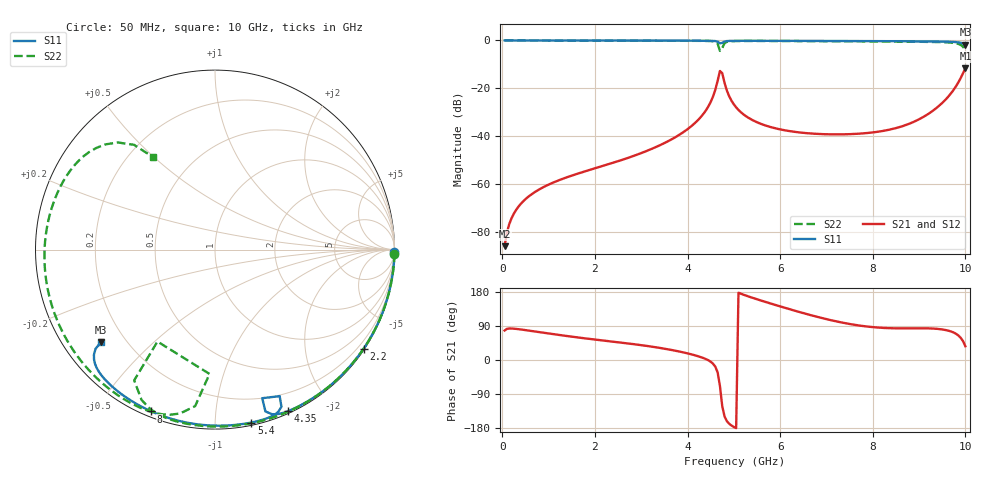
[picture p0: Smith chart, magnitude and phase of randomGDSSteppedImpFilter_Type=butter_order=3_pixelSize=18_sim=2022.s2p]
! freq	dB(S11)	phase(S11)	dB(S12)	phase(S12)
!  dB(S21)	phase(S21)	dB(S22)	phase(S22)
!S-par simulation data
#  GHz  S  DB  R 50
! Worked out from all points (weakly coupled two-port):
!   200 points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, 50 MHz to 10 GHz, reference 50 ohm
!   highest |S21| = -11.67 dB at 10 GHz (marker M1); lowest = -86.1 dB at 50 MHz (marker M2)
!   lowest |S11| = -1.7 dB at 10 GHz (marker M3), VSWR 10.05, Z = 5.6 - j17.6 ohm
!   |S11| at or under -10 dB: nowhere
!   |S22| runs from -4.4 to 0.0 dB; largest |S21 - S12| = 0
!   S11 on the Smith chart (normalised r, x): 50 MHz: open; 2.2 GHz: 0.03, -3.30; 4.35 GHz: 0.02, -1.55; 5.4 GHz: 0.02, -1.23; 8 GHz: 0.02, -0.68; 10 GHz: 0.11, -0.35
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0.05  -0.00 -0.8  -86.08 77.8  -86.08 77.8  -0.00 -1.3
0.1  -0.00 -1.6  -80.33 82.2  -80.33 82.2  -0.00 -2.5
0.3  -0.00 -4.7  -70.86 82.1  -70.86 82.1  -0.00 -7.6
0.6  -0.01 -9.4  -64.83 77.2  -64.83 77.2  -0.01 -15.2
1.75  -0.03 -27.0  -54.99 57.6  -54.99 57.6  -0.05 -43.5
2.2  -0.04 -33.7  -52.33 51.1  -52.33 51.1  -0.07 -54.2
3.4  -0.07 -51.4  -43.88 31.9  -43.88 31.9  -0.11 -81.7
3.95  -0.08 -59.5  -37.84 18.9  -37.84 18.9  -0.13 -94.2
4.35  -0.11 -65.6  -30.52 4.8  -30.52 4.8  -0.18 -104.4
4.6  -0.26 -70.9  -20.64 -17.6  -20.64 -17.6  -0.61 -116.0
4.65  -0.50 -72.7  -16.88 -32.7  -16.88 -32.7  -1.35 -121.7
4.7  -1.22 -72.4  -12.77 -68.5  -12.77 -68.5  -4.37 -122.0
4.75  -0.99 -66.2  -13.73 -122.2  -13.73 -122.2  -3.18 -92.5
4.85  -0.26 -68.7  -20.98 -161.4  -20.98 -161.4  -0.60 -102.0
5.05  -0.15 -72.9  -28.00 -179.8  -28.00 -179.8  -0.26 -111.2
5.4  -0.14 -78.1  -33.30 164.2  -33.30 164.2  -0.22 -120.0
6.7  -0.19 -95.3  -38.98 117.1  -38.98 117.1  -0.28 -146.5
8  -0.27 -111.5  -38.48 86.7  -38.48 86.7  -0.40 -172.4
8.35  -0.30 -115.8  -37.38 84.0  -37.38 84.0  -0.45 -179.6
9.35  -0.43 -128.7  -28.65 82.6  -28.65 82.6  -0.64 156.7
9.75  -0.63 -135.3  -20.53 72.3  -20.53 72.3  -1.04 142.2
10  -1.73 -140.9  -11.67 36.2  -11.67 36.2  -4.14 123.8
